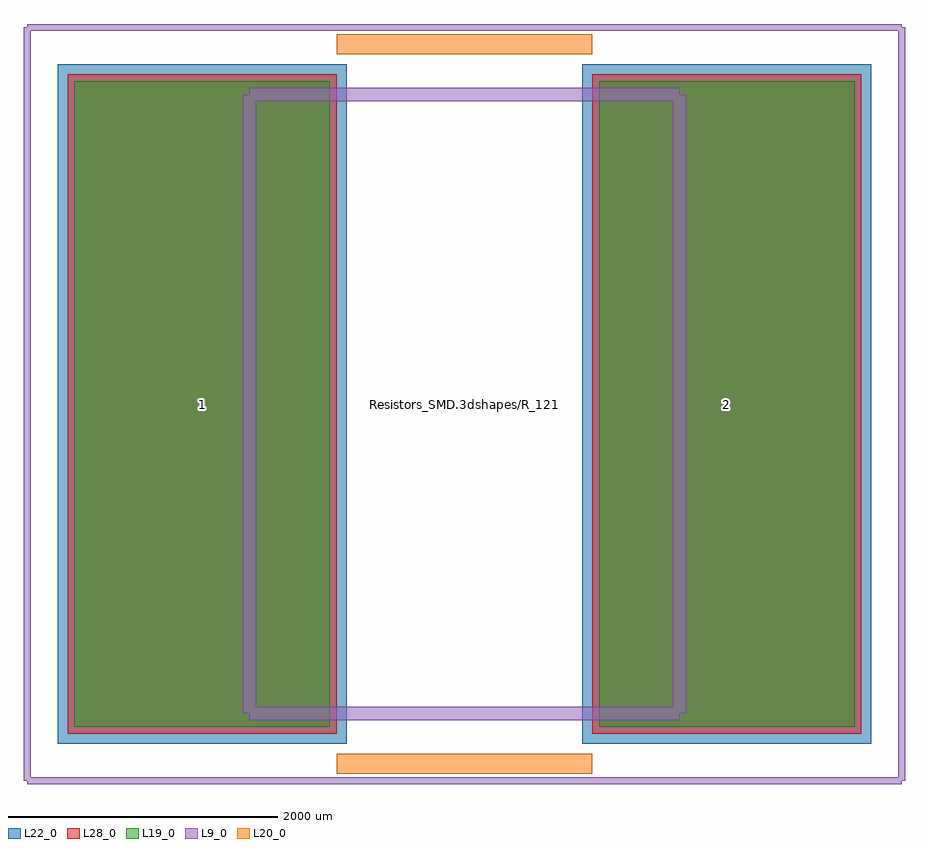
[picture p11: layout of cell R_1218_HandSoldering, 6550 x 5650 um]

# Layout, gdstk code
import gdstk
lib = gdstk.Library(unit=1e-6, precision=1e-09)
def R(c, l, rs):  # rectangles x0, y0, x1, y1
    for r in rs: c.add(gdstk.rectangle(r[:2], r[2:], *l))
L9_0 = (9, 0)
L19_0 = (19, 0)
L20_0 = (20, 0)
L22_0 = (22, 0)
L28_0 = (28, 0)

r_1218_handsoldering = lib.new_cell('R_1218_HandSoldering')
R(r_1218_handsoldering, L19_0, [(-2900,-2400,-1000,2400), (1000,-2400,2900,2400)])
R(r_1218_handsoldering, L22_0, [(-3025,-2525,-875,2525), (875,-2525,3025,2525)])
R(r_1218_handsoldering, L28_0, [(-2950,-2450,-950,2450), (950,-2450,2950,2450)])
r_1218_handsoldering.add(gdstk.FlexPath([(-950,2675),(950,2675)], 149.998, ends="flush", simple_path=True, layer=20, datatype=0))  # L20_0
r_1218_handsoldering.add(gdstk.FlexPath([(950,-2675),(-950,-2675)], 149.998, ends="flush", simple_path=True, layer=20, datatype=0))  # L20_0
r_1218_handsoldering.add(gdstk.FlexPath([(3250,2800),(3250,-2800)], 50, ends="flush", simple_path=True, layer=9, datatype=0))  # L9_0
r_1218_handsoldering.add(gdstk.FlexPath([(-3250,2800),(-3250,-2800)], 50, ends="flush", simple_path=True, layer=9, datatype=0))  # L9_0
r_1218_handsoldering.add(gdstk.FlexPath([(-3250,-2800),(3250,-2800)], 50, ends="flush", simple_path=True, layer=9, datatype=0))  # L9_0
r_1218_handsoldering.add(gdstk.FlexPath([(-3250,2800),(3250,2800)], 50, ends="flush", simple_path=True, layer=9, datatype=0))  # L9_0
r_1218_handsoldering.add(gdstk.FlexPath([(-1600,2300),(1600,2300)], 100, ends="flush", simple_path=True, layer=9, datatype=0))  # L9_0
r_1218_handsoldering.add(gdstk.FlexPath([(1600,2300),(1600,-2300)], 100, ends="flush", simple_path=True, layer=9, datatype=0))  # L9_0
r_1218_handsoldering.add(gdstk.FlexPath([(1600,-2300),(-1600,-2300)], 100, ends="flush", simple_path=True, layer=9, datatype=0))  # L9_0
r_1218_handsoldering.add(gdstk.FlexPath([(-1600,-2300),(-1600,2300)], 100, ends="flush", simple_path=True, layer=9, datatype=0))  # L9_0
r_1218_handsoldering.add(gdstk.Label('Resistors_SMD.3dshapes/R_1218_HandSoldering.wrl', (0,0), layer=12, texttype=0))
r_1218_handsoldering.add(gdstk.Label('2', (1950,0), layer=28, texttype=0))
r_1218_handsoldering.add(gdstk.Label('1', (-1950,0), layer=28, texttype=0))
r_1218_handsoldering.add(gdstk.Label('type', (0,-3900), layer=9, texttype=0))
r_1218_handsoldering.add(gdstk.Label('devicename', (0,3900), layer=9, texttype=0))

lib.write_gds('R_1218_HandSoldering.gds')
